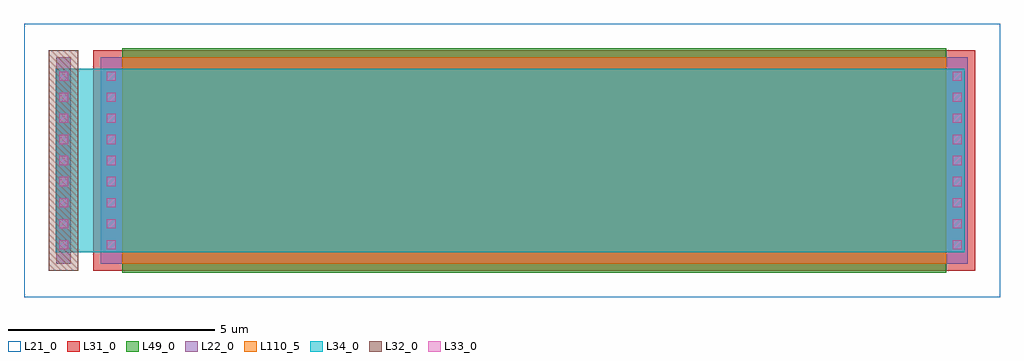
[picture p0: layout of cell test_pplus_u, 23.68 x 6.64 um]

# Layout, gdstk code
import gdstk
lib = gdstk.Library(unit=1e-6, precision=1e-09)
def R(c, l, rs):  # rectangles x0, y0, x1, y1
    for r in rs: c.add(gdstk.rectangle(r[:2], r[2:], *l))
def A(c, l, x, y, w, h, nx, ny, dx, dy):  # array of equal rectangles
    R(c, l, [(x+i*dx, y+j*dy, x+i*dx+w, y+j*dy+h) for i in range(nx) for j in range(ny)])
L21_0 = (21, 0)
L22_0 = (22, 0)
L31_0 = (31, 0)
L32_0 = (32, 0)
L33_0 = (33, 0)
L34_0 = (34, 0)
L49_0 = (49, 0)
L110_5 = (110, 5)

pplus_u_resistor = lib.new_cell('pplus_u_resistor')
R(pplus_u_resistor, L21_0, [(-2.38,-0.82,21.3,5.82)])
R(pplus_u_resistor, L22_0, [(-1.6,0,-1.24,5), (-0.52,0,20.52,5)])
R(pplus_u_resistor, L31_0, [(-0.7,-0.18,20.7,5.18)])
R(pplus_u_resistor, L32_0, [(-1.78,-0.18,-1.06,5.18)])
A(pplus_u_resistor, L33_0, -1.53, 0.35, 0.22, 0.22, 1, 9, 0, 0.51)
A(pplus_u_resistor, L33_0, -0.37, 0.35, 0.22, 0.22, 1, 9, 0, 0.51)
A(pplus_u_resistor, L33_0, 20.15, 0.35, 0.22, 0.22, 1, 9, 0, 0.51)
R(pplus_u_resistor, L34_0, [(-1.61,0.27,-1.23,4.73), (-0.45,0.27,-0.07,4.73), (20.07,0.27,20.45,4.73)])
R(pplus_u_resistor, L49_0, [(0,-0.22,20,5.22)])
R(pplus_u_resistor, L110_5, [(0,0,20,5)])

test_pplus_u = lib.new_cell('test_pplus_u')
R(test_pplus_u, L34_0, [(-2.19,0.1,-1.41,4.56), (-1.03,0.1,19.11,4.56)])
test_pplus_u.add(gdstk.Reference(pplus_u_resistor, (-0.96,-0.17)))

lib.write_gds('test_pplus_u.gds')
